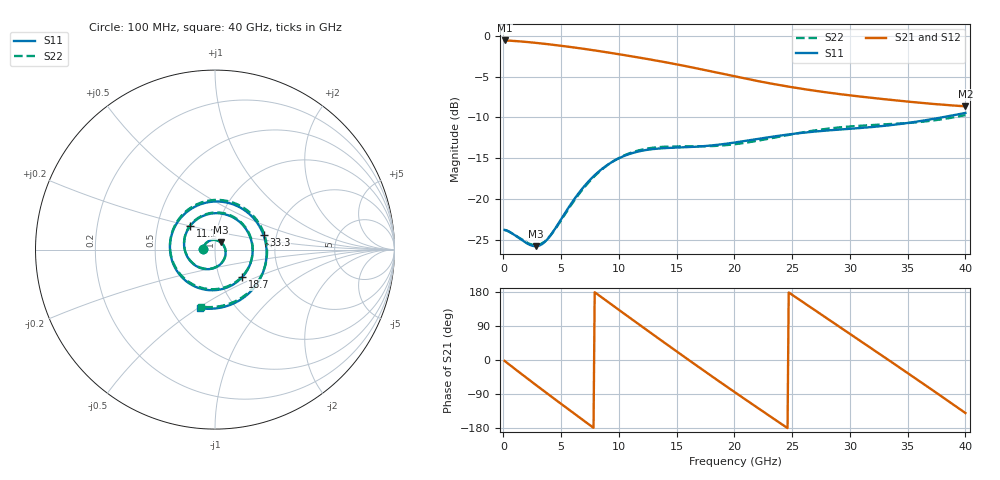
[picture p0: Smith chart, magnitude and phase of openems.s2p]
! D_s8_stitch_2p0: L1 (ref L2) → L8 (ref L7), one GND via at 2 mm
! stackup: 8-layer 1.6 mm FR-4 (generic)
! ports: 1, 2
! openEMS 0.37.0, staircase, fine mesh (dfine 0.0175 mm), 1693692 cells
# Hz S RI R 50
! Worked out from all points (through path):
!   400 points, 100 MHz to 40 GHz, reference 50 ohm
!   highest |S21| = -0.59 dB at 100 MHz (marker M1); lowest = -8.6 dB at 40 GHz (marker M2)
!   group delay of S21, straight-line fit = 59.2 ps
!   lowest |S11| = -25.7 dB at 2.8 GHz (marker M3), VSWR 1.11, Z = 53.1 + j4.35 ohm
!   |S11| at or under -10 dB: start of sweep to 37.96 GHz
!   |S22| runs from -25.6 to -9.7 dB; largest |S21 - S12| = 0.0022
!   S11 on the Smith chart (normalised r, x): 100 MHz: 0.88, +0.01; 11.1 GHz: 0.73, +0.20; 18.7 GHz: 1.29, -0.41; 33.3 GHz: 1.71, +0.30; 40 GHz: 0.69, -0.51
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1e8  -0.0647 0.00511  0.9331 -0.0392  0.9331 -0.0392  -0.0646 0.00514
1.3e9  -0.0321 0.0486  0.793 -0.4731  0.793 -0.4731  -0.032 0.049
2.8e9  0.0315 0.0409  0.3723 -0.8227  0.3723 -0.8227  0.0316 0.0418
4.6e9  0.0567 -0.0378  -0.253 -0.836  -0.2529 -0.8361  0.057 -0.0362
6.8e9  -0.0379 -0.1091  -0.7643 -0.3316  -0.7645 -0.3317  -0.0373 -0.1072
8.7e9  -0.1485 -0.0493  -0.7523 0.2593  -0.7524 0.2596  -0.1481 -0.0474
1.11e10  -0.1398 0.13  -0.2294 0.711  -0.229 0.7109  -0.1403 0.1325
1.34e10  0.0347 0.201  0.3769 0.5903  0.3765 0.59  0.0333 0.2053
1.47e10  0.1365 0.1549  0.5884 0.3276  0.5879 0.3278  0.1353 0.1607
1.59e10  0.1957 0.0708  0.6473 0.0349  0.6473 0.0355  0.1953 0.0777
1.87e10  0.1527 -0.1524  0.322 -0.4937  0.3228 -0.4941  0.1553 -0.145
2.01e10  0.0542 -0.2158  0.0351 -0.5606  0.0353 -0.5616  0.0576 -0.2093
2.16e10  -0.0715 -0.2197  -0.2487 -0.4731  -0.2495 -0.4739  -0.0682 -0.2145
2.35e10  -0.2045 -0.13  -0.4644 -0.1964  -0.4654 -0.196  -0.2024 -0.1257
2.5e10  -0.2503 -0.00779  -0.4789 0.0671  -0.4791 0.0681  -0.2496 -0.00352
2.67e10  -0.2171 0.1394  -0.3392 0.3153  -0.3385 0.3158  -0.2182 0.1444
2.97e10  0.015 0.2681  0.1091 0.4199  0.109 0.4193  0.0111 0.277
3.16e10  0.1798 0.208  0.3378 0.2472  0.3371 0.2476  0.1765 0.2212
3.33e10  0.271 0.0794  0.4063 0.00668  0.4065 0.00777  0.2706 0.0958
3.34e10  0.274 0.0706  0.4056 -0.00805  0.4058 -0.00696  0.2738 0.0871
3.69e10  0.1978 -0.2345  0.1044 -0.3695  0.1057 -0.3708  0.2061 -0.2193
4e10  -0.0848 -0.3259  -0.2827 -0.238  -0.2846 -0.239  -0.0758 -0.3177
